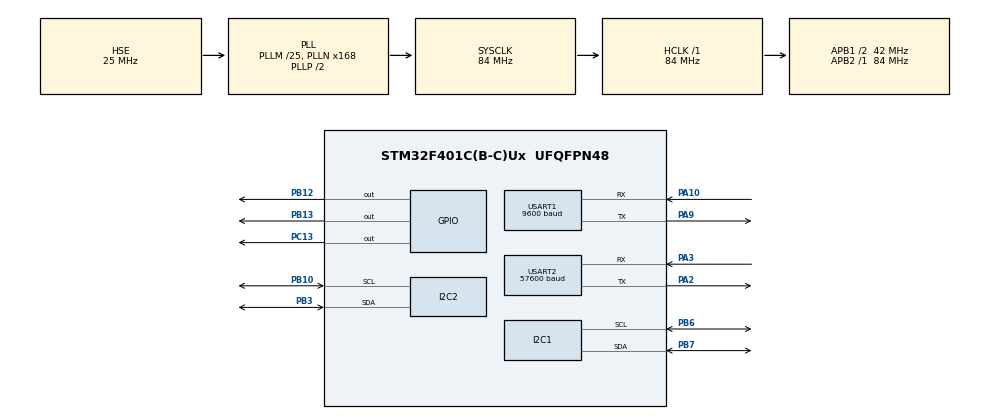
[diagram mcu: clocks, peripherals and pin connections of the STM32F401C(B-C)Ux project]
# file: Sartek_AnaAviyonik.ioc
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Mcu.Family=STM32F4
Mcu.Name=STM32F401C(B-C)Ux
Mcu.Package=UFQFPN48
NVIC.PriorityGroup=NVIC_PRIORITYGROUP_4
NVIC.USART1_IRQn=true\:0\:0\:false\:false\:true\:true\:true\:true
PA10.Mode=Asynchronous
PA10.Signal=USART1_RX
PA13.Mode=Serial_Wire
PA13.Signal=SYS_JTMS-SWDIO
PA14.Mode=Serial_Wire
PA14.Signal=SYS_JTCK-SWCLK
PA2.Mode=Asynchronous
PA2.Signal=USART2_TX
PA3.Mode=Asynchronous
PA3.Signal=USART2_RX
PA9.Mode=Asynchronous
PA9.Signal=USART1_TX
PB10.Mode=I2C
PB10.Signal=I2C2_SCL
PB12.Signal=GPIO_Output
PB13.Signal=GPIO_Output
PB3.Mode=I2C
PB3.Signal=I2C2_SDA
PB6.Mode=I2C
PB6.Signal=I2C1_SCL
PB7.Mode=I2C
PB7.Signal=I2C1_SDA
PC13-ANTI_TAMP.Signal=GPIO_Output
PH0\ -\ OSC_IN.Mode=HSE-External-Oscillator
PH0\ -\ OSC_IN.Signal=RCC_OSC_IN
PH1\ -\ OSC_OUT.Mode=HSE-External-Oscillator
PH1\ -\ OSC_OUT.Signal=RCC_OSC_OUT
ProjectManager.HeapSize=0x200
ProjectManager.StackSize=0x400
ProjectManager.TargetToolchain=STM32CubeIDE
RCC.48MHZClocksFreq_Value=42000000
RCC.AHBFreq_Value=84000000
RCC.APB1CLKDivider=RCC_HCLK_DIV2
RCC.APB1Freq_Value=42000000
RCC.APB1TimFreq_Value=84000000
RCC.APB2Freq_Value=84000000
RCC.APB2TimFreq_Value=84000000
RCC.CortexFreq_Value=84000000
RCC.HCLKFreq_Value=84000000
RCC.HSE_VALUE=25000000
RCC.HSI_VALUE=16000000
RCC.LSE_VALUE=32768
RCC.PLLM=25
RCC.PLLN=168
RCC.PLLSourceVirtual=RCC_PLLSOURCE_HSE
RCC.SYSCLKFreq_VALUE=84000000
RCC.SYSCLKSource=RCC_SYSCLKSOURCE_PLLCLK
RCC.VCOOutputFreq_Value=168000000
USART1.BaudRate=9600
USART1.VirtualMode=VM_ASYNC
USART2.BaudRate=57600
USART2.VirtualMode=VM_ASYNC
board=custom

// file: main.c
/* USER CODE BEGIN Header */
/**
  ******************************************************************************
  * @file           : main.c
  * @brief          : Main program body
  ******************************************************************************
  * @attention
  *
  * Copyright (c) 2022 STMicroelectronics.
  * All rights reserved.
  *
  * This software is licensed under terms that can be found in the LICENSE file
  * in the root directory of this software component.
  * If no LICENSE file comes with this software, it is provided AS-IS.
  *
  ******************************************************************************
  */
/* USER CODE END Header */
#include "main.h"

/* USER CODE BEGIN Includes */
#include <string.h>
#include <stdlib.h>
#include "lwgps/lwgps.h"
#include "BME280_STM32.h"
#include <math.h>
#include <stdio.h>
#include <stdbool.h>
#include "TJ_MPU6050.h"
/* USER CODE END Includes */

 I2C_HandleTypeDef hi2c1;
I2C_HandleTypeDef hi2c2;

UART_HandleTypeDef huart1;
UART_HandleTypeDef huart2;

void SystemClock_Config(void);
static void MX_GPIO_Init(void);
static void MX_USART1_UART_Init(void);
static void MX_I2C2_Init(void);
static void MX_I2C1_Init(void);
static void MX_USART2_UART_Init(void);

/* USER CODE BEGIN 0 */
RawData_Def myAccelRaw, myGyroRaw;
ScaledData_Def myAccelScaled, myGyroScaled;
float Temperature, Pressure, Humidity;
float  Altitude, Altitude_temp, height,sample;
int a=0,b=0;
void CalculateAltitude(float Pres, float T);
float TransmitData[70];
lwgps_t gps;

uint8_t rx_buffer[128];
uint8_t rx_index = 0;
uint8_t rx_data = 0;

void HAL_UART_RxCpltCallback(UART_HandleTypeDef *huart)
{
	if(huart == &huart1) {
		if(rx_data != '\n' && rx_index < sizeof(rx_buffer)) {
			rx_buffer[rx_index++] = rx_data;
		} else {
			lwgps_process(&gps, rx_buffer, rx_index+1);
			rx_index = 0;
			rx_data = 0;
		}
		HAL_UART_Receive_IT(&huart1, &rx_data, 1);
	}
}
/* USER CODE END 0 */

int main(void)
{
  /* USER CODE BEGIN 1 */
	MPU_ConfigTypeDef myMpuConfig;
  /* USER CODE END 1 */

  /* MCU Configuration--------------------------------------------------------*/

  /* Reset of all peripherals, Initializes the Flash interface and the Systick. */
  HAL_Init();

  /* Configure the system clock */
  SystemClock_Config();

  /* Initialize all configured peripherals */
  MX_GPIO_Init();
  MX_USART1_UART_Init();
  MX_I2C2_Init();
  MX_I2C1_Init();
  MX_USART2_UART_Init();
  /* USER CODE BEGIN 2 */
  BME280_Config ( OSRS_2, OSRS_16, OSRS_1, MODE_NORMAL, T_SB_0p5, IIR_16 );
  lwgps_init(&gps);
  HAL_UART_Receive_IT(&huart1, &rx_data, 1);

  MPU6050_Init(&hi2c1);
  myMpuConfig.Accel_Full_Scale = AFS_SEL_4g;
  myMpuConfig.ClockSource = Internal_8MHz;
  myMpuConfig.CONFIG_DLPF = DLPF_184A_188G_Hz;
  myMpuConfig.Gyro_Full_Scale = FS_SEL_500;
  myMpuConfig.Sleep_Mode_Bit = 0; //1 is sleep mode
  MPU6050_Config(&myMpuConfig);

  /* USER CODE END 2 */

  /* Infinite loop */
  while (1)
  {

    /* USER CODE BEGIN 3 */

	      BME280_Measure();
	  	  CalculateAltitude (Pressure,Temperature);
	  	  height = Altitude - Altitude_temp;
		  MPU6050_Get_Accel_Scale(&myAccelScaled);
		  MPU6050_Get_Gyro_Scale(&myGyroScaled);

		  TransmitData[0]=Pressure;
		  TransmitData[1]=Temperature;
		  TransmitData[2]=Humidity;
		  TransmitData[3]=Altitude;
		  TransmitData[4]=height;
		  TransmitData[5]=gps.latitude;
		  TransmitData[6]=gps.longitude;
		  TransmitData[7]=gps.altitude;

		  //sprintf(&TransmitData[3], ";%8.4f;%8.4f;%8.4f;%8.4f;%8.4f;%8.4f;", Pressure, Temperature, Humidity, gps.longitude, gps.latitude, gps.altitude);

		  HAL_UART_Transmit(&huart2, (uint8_t*)TransmitData, sizeof(TransmitData), 100);

		  	  if( Temperature >= 29 ){
		  		  HAL_GPIO_WritePin(GPIOB, GPIO_PIN_13, GPIO_PIN_SET);
		  	  }
		  	  else{
		  		  HAL_GPIO_WritePin(GPIOB, GPIO_PIN_13, GPIO_PIN_RESET);
		  	  }

		  	  if(Temperature >= 30){
		  		  HAL_GPIO_WritePin(GPIOB, GPIO_PIN_12, GPIO_PIN_SET);
		  	  }
		  	  else{
		  		  HAL_GPIO_WritePin(GPIOB, GPIO_PIN_12, GPIO_PIN_RESET);
		  	  }

		  	HAL_Delay (400);

  }

  /* USER CODE END 3 */
}

void SystemClock_Config(void)
{
  RCC_OscInitTypeDef RCC_OscInitStruct = {0};
  RCC_ClkInitTypeDef RCC_ClkInitStruct = {0};

  /** Configure the main internal regulator output voltage
  */
  __HAL_RCC_PWR_CLK_ENABLE();
  __HAL_PWR_VOLTAGESCALING_CONFIG(PWR_REGULATOR_VOLTAGE_SCALE2);

  /** Initializes the RCC Oscillators according to the specified parameters
  * in the RCC_OscInitTypeDef structure.
  */
  RCC_OscInitStruct.OscillatorType = RCC_OSCILLATORTYPE_HSE;
  RCC_OscInitStruct.HSEState = RCC_HSE_ON;
  RCC_OscInitStruct.PLL.PLLState = RCC_PLL_ON;
  RCC_OscInitStruct.PLL.PLLSource = RCC_PLLSOURCE_HSE;
  RCC_OscInitStruct.PLL.PLLM = 25;
  RCC_OscInitStruct.PLL.PLLN = 168;
  RCC_OscInitStruct.PLL.PLLP = RCC_PLLP_DIV2;
  RCC_OscInitStruct.PLL.PLLQ = 4;
  if (HAL_RCC_OscConfig(&RCC_OscInitStruct) != HAL_OK)
  {
    Error_Handler();
  }

  /** Initializes the CPU, AHB and APB buses clocks
  */
  RCC_ClkInitStruct.ClockType = RCC_CLOCKTYPE_HCLK|RCC_CLOCKTYPE_SYSCLK
                              |RCC_CLOCKTYPE_PCLK1|RCC_CLOCKTYPE_PCLK2;
  RCC_ClkInitStruct.SYSCLKSource = RCC_SYSCLKSOURCE_PLLCLK;
  RCC_ClkInitStruct.AHBCLKDivider = RCC_SYSCLK_DIV1;
  RCC_ClkInitStruct.APB1CLKDivider = RCC_HCLK_DIV2;
  RCC_ClkInitStruct.APB2CLKDivider = RCC_HCLK_DIV1;

  if (HAL_RCC_ClockConfig(&RCC_ClkInitStruct, FLASH_LATENCY_2) != HAL_OK)
  {
    Error_Handler();
  }
}

static void MX_I2C1_Init(void)
{

  hi2c1.Instance = I2C1;
  hi2c1.Init.ClockSpeed = 100000;
  hi2c1.Init.DutyCycle = I2C_DUTYCYCLE_2;
  hi2c1.Init.OwnAddress1 = 0;
  hi2c1.Init.AddressingMode = I2C_ADDRESSINGMODE_7BIT;
  hi2c1.Init.DualAddressMode = I2C_DUALADDRESS_DISABLE;
  hi2c1.Init.OwnAddress2 = 0;
  hi2c1.Init.GeneralCallMode = I2C_GENERALCALL_DISABLE;
  hi2c1.Init.NoStretchMode = I2C_NOSTRETCH_DISABLE;
  if (HAL_I2C_Init(&hi2c1) != HAL_OK)
  {
    Error_Handler();
  }

}

static void MX_I2C2_Init(void)
{

  hi2c2.Instance = I2C2;
  hi2c2.Init.ClockSpeed = 100000;
  hi2c2.Init.DutyCycle = I2C_DUTYCYCLE_2;
  hi2c2.Init.OwnAddress1 = 0;
  hi2c2.Init.AddressingMode = I2C_ADDRESSINGMODE_7BIT;
  hi2c2.Init.DualAddressMode = I2C_DUALADDRESS_DISABLE;
  hi2c2.Init.OwnAddress2 = 0;
  hi2c2.Init.GeneralCallMode = I2C_GENERALCALL_DISABLE;
  hi2c2.Init.NoStretchMode = I2C_NOSTRETCH_DISABLE;
  if (HAL_I2C_Init(&hi2c2) != HAL_OK)
  {
    Error_Handler();
  }

}

static void MX_USART1_UART_Init(void)
{

  huart1.Instance = USART1;
  huart1.Init.BaudRate = 9600;
  huart1.Init.WordLength = UART_WORDLENGTH_8B;
  huart1.Init.StopBits = UART_STOPBITS_1;
  huart1.Init.Parity = UART_PARITY_NONE;
  huart1.Init.Mode = UART_MODE_TX_RX;
  huart1.Init.HwFlowCtl = UART_HWCONTROL_NONE;
  huart1.Init.OverSampling = UART_OVERSAMPLING_16;
  if (HAL_UART_Init(&huart1) != HAL_OK)
  {
    Error_Handler();
  }

}

static void MX_USART2_UART_Init(void)
{

  huart2.Instance = USART2;
  huart2.Init.BaudRate = 57600;
  huart2.Init.WordLength = UART_WORDLENGTH_8B;
  huart2.Init.StopBits = UART_STOPBITS_1;
  huart2.Init.Parity = UART_PARITY_NONE;
  huart2.Init.Mode = UART_MODE_TX_RX;
  huart2.Init.HwFlowCtl = UART_HWCONTROL_NONE;
  huart2.Init.OverSampling = UART_OVERSAMPLING_16;
  if (HAL_UART_Init(&huart2) != HAL_OK)
  {
    Error_Handler();
  }

}

static void MX_GPIO_Init(void)
{
  GPIO_InitTypeDef GPIO_InitStruct = {0};

  /* GPIO Ports Clock Enable */
  __HAL_RCC_GPIOC_CLK_ENABLE();
  __HAL_RCC_GPIOH_CLK_ENABLE();
  __HAL_RCC_GPIOA_CLK_ENABLE();
  __HAL_RCC_GPIOB_CLK_ENABLE();

  /*Configure GPIO pin Output Level */
  HAL_GPIO_WritePin(GPIOC, GPIO_PIN_13, GPIO_PIN_RESET);

  /*Configure GPIO pin Output Level */
  HAL_GPIO_WritePin(GPIOB, GPIO_PIN_12|GPIO_PIN_13, GPIO_PIN_RESET);

  /*Configure GPIO pin : PC13 */
  GPIO_InitStruct.Pin = GPIO_PIN_13;
  GPIO_InitStruct.Mode = GPIO_MODE_OUTPUT_PP;
  GPIO_InitStruct.Pull = GPIO_NOPULL;
  GPIO_InitStruct.Speed = GPIO_SPEED_FREQ_LOW;
  HAL_GPIO_Init(GPIOC, &GPIO_InitStruct);

  /*Configure GPIO pins : PB12 PB13 */
  GPIO_InitStruct.Pin = GPIO_PIN_12|GPIO_PIN_13;
  GPIO_InitStruct.Mode = GPIO_MODE_OUTPUT_PP;
  GPIO_InitStruct.Pull = GPIO_NOPULL;
  GPIO_InitStruct.Speed = GPIO_SPEED_FREQ_LOW;
  HAL_GPIO_Init(GPIOB, &GPIO_InitStruct);

}

/* USER CODE BEGIN 4 */
void CalculateAltitude(float Pres, float T)
{
	float  ratio,p;

	ratio = (Pres/100) / 1013.25;
	p = log(ratio) * 8.31432 * (T + 273.15);
	Altitude = p / (-0.28404373);

	if(b==0){
		Altitude_temp=Altitude;
		b=1;
	}

}
/* USER CODE END 4 */

void Error_Handler(void)
{
  __disable_irq();
  while (1)
  {
  }
}
